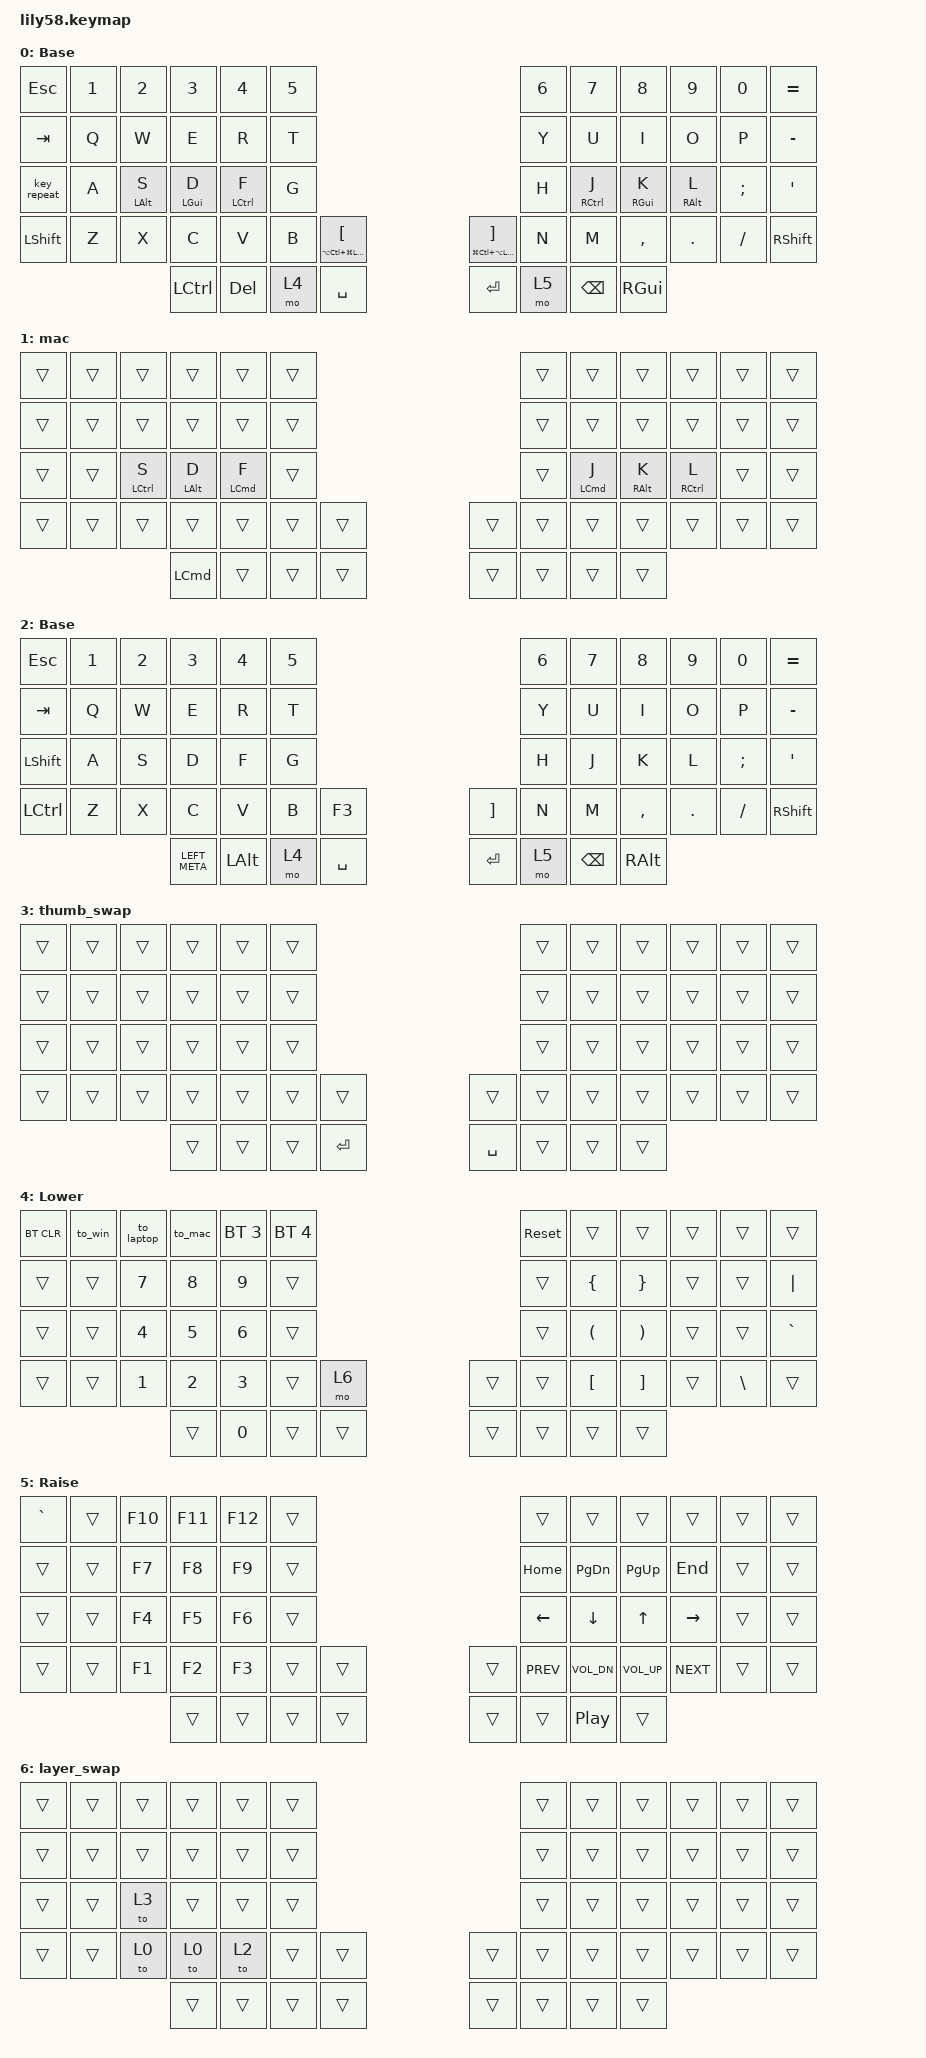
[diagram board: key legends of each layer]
/*
 * Copyright (c) 2020 The ZMK Contributors
 *
 * SPDX-License-Identifier: MIT
 */

#include <behaviors.dtsi>
#include <dt-bindings/zmk/bt.h>
#include <dt-bindings/zmk/keys.h>

/ {
    behaviors {
        hml: hml {
            compatible = "zmk,behavior-hold-tap";
            label = "HML";
            bindings = <&kp>, <&kp>;

            #binding-cells = <2>;
            flavor = "balanced";
            tapping-term-ms = <280>;
            hold-trigger-key-positions = <6 7 8 9 10 11 18 19 20 21 22 23 30 31 32 33 34 35 43 44 45 46 47 48 49 54 55 56 57 50 51 52 53>;
            hold-trigger-on-release;
            quick-tap-ms = <175>;
            require-prior-idle-ms = <150>;
        };

        hmr: hmr {
            compatible = "zmk,behavior-hold-tap";
            label = "HMR";
            bindings = <&kp>, <&kp>;

            #binding-cells = <2>;
            flavor = "balanced";
            tapping-term-ms = <280>;
            hold-trigger-on-release;
            quick-tap-ms = <175>;
            require-prior-idle-ms = <150>;
            hold-trigger-key-positions = <50 51 52 53 54 55 56 57 0 1 2 3 4 5 12 13 14 15 16 17 24 25 26 27 28 29 36 37 38 39 40 41 42>;
        };
    };

    macros {
        to_mac: switch_to_mac {
            compatible = "zmk,behavior-macro";
            #binding-cells = <0>;
            bindings = <&bt BT_SEL 2 &to 1>;
            label = "SWITCH_TO_MAC";
        };

        to_win: switch_to_windows {
            compatible = "zmk,behavior-macro";
            #binding-cells = <0>;
            bindings = <&bt BT_SEL 0 &to 0>;
            label = "SWITCH_TO_WINDOWS";
        };

        to_laptop: to_laptop {
            compatible = "zmk,behavior-macro";
            #binding-cells = <0>;
            bindings = <&bt BT_SEL 1 &to 0>;
            label = "TO_LAPTOP";
        };

        hyper: hyper {
            compatible = "zmk,behavior-macro";
            #binding-cells = <0>;
            bindings = <&kp LA(LC(LG(LEFT_SHIFT)))>;
            label = "HYPER";
        };
    };

    keymap {
        compatible = "zmk,keymap";

        windows {
            display-name = "Base";
            bindings = <
&kp ESCAPE   &kp N1  &kp N2       &kp N3            &kp N4        &kp N5                                                                                &kp N6  &kp N7        &kp N8       &kp N9       &kp N0         &kp EQUAL
&kp TAB      &kp Q   &kp W        &kp E             &kp R         &kp T                                                                                 &kp Y   &kp U         &kp I        &kp O        &kp P          &kp MINUS
&key_repeat  &kp A   &hml LALT S  &hml LGUI D       &hml LCTRL F  &kp G                                                                                 &kp H   &hmr RCTRL J  &hmr RGUI K  &hmr RALT L  &kp SEMICOLON  &kp SINGLE_QUOTE
&kp LSHIFT   &kp Z   &kp X        &kp C             &kp V         &kp B   &hml LA(LC(LG(LEFT_SHIFT))) LEFT_BRACKET    &hmr LG(LC(LA(LEFT_SHIFT))) RBKT  &kp N   &kp M         &kp COMMA    &kp DOT      &kp FSLH       &kp RSHIFT
                                  &kp LEFT_CONTROL  &kp DELETE    &mo 4   &kp SPACE                                   &kp RET                           &mo 5   &kp BSPC      &kp RGUI
            >;
        };

        mac {
            bindings = <
&trans  &trans  &trans               &trans            &trans               &trans                    &trans  &trans               &trans            &trans                &trans  &trans
&trans  &trans  &trans               &trans            &trans               &trans                    &trans  &trans               &trans            &trans                &trans  &trans
&trans  &trans  &hml LEFT_CONTROL S  &hml LEFT_ALT D   &hml LEFT_COMMAND F  &trans                    &trans  &hmr LEFT_COMMAND J  &hmr RIGHT_ALT K  &hmr RIGHT_CONTROL L  &trans  &trans
&trans  &trans  &trans               &trans            &trans               &trans  &trans    &trans  &trans  &trans               &trans            &trans                &trans  &trans
                                     &kp LEFT_COMMAND  &trans               &trans  &trans    &trans  &trans  &trans               &trans
            >;
        };

        Gaming {
            display-name = "Base";
            bindings = <
&kp ESCAPE      &kp N1  &kp N2  &kp N3         &kp N4        &kp N5                         &kp N6  &kp N7    &kp N8     &kp N9   &kp N0    &kp EQUAL
&kp TAB         &kp Q   &kp W   &kp E          &kp R         &kp T                          &kp Y   &kp U     &kp I      &kp O    &kp P     &kp MINUS
&kp LEFT_SHIFT  &kp A   &kp S   &kp D          &kp F         &kp G                          &kp H   &kp J     &kp K      &kp L    &kp SEMI  &kp SQT
&kp LCTRL       &kp Z   &kp X   &kp C          &kp V         &kp B   &kp F3       &kp RBKT  &kp N   &kp M     &kp COMMA  &kp DOT  &kp FSLH  &kp RSHFT
                                &kp LEFT_META  &kp LEFT_ALT  &mo 4   &kp SPACE    &kp RET   &mo 5   &kp BSPC  &kp RALT
            >;
        };

        thumb_swap {
            bindings = <
&trans  &trans  &trans  &trans  &trans  &trans                          &trans  &trans  &trans  &trans  &trans  &trans
&trans  &trans  &trans  &trans  &trans  &trans                          &trans  &trans  &trans  &trans  &trans  &trans
&trans  &trans  &trans  &trans  &trans  &trans                          &trans  &trans  &trans  &trans  &trans  &trans
&trans  &trans  &trans  &trans  &trans  &trans  &trans       &trans     &trans  &trans  &trans  &trans  &trans  &trans
                        &trans  &trans  &trans  &kp ENTER    &kp SPACE  &trans  &trans  &trans
            >;
        };

        lower_layer {
            // ------------------------------------------------------------------------------------------------------------
            // | BTCLR | BT1 | BT2 |  BT3 |  BT4 |  BT5 |                   |      |       |       |      |       |       |
            // |  F1   |  F2 |  F3 |  F4  |  F5  |  F6  |                   |  F7  |  F8   |  F9   |  F10 |  F11  |  F12  |
            // |   `   |  !  |  @  |  #   |  $   |  %   |                   |  ^   |  &    |  *    |  (   |   )   |   ~   |
            // |       |     |     |      |      |      |        |  |       |      |  _    |  +    |  {   |   }   |  "|"  |
            //                     |      |      |      |        |  |       |      |       |       |

            display-name = "Lower";
            bindings = <
&bt BT_CLR  &to_win  &to_laptop  &to_mac  &bt BT_SEL 3  &bt BT_SEL 4                    &sys_reset  &trans                &trans                 &trans  &trans         &trans
&trans      &trans   &kp N7      &kp N8   &kp N9        &trans                          &trans      &kp LEFT_BRACE        &kp RIGHT_BRACE        &trans  &trans         &kp PIPE
&trans      &trans   &kp N4      &kp N5   &kp N6        &trans                          &trans      &kp LEFT_PARENTHESIS  &kp RIGHT_PARENTHESIS  &trans  &trans         &kp GRAVE
&trans      &trans   &kp N1      &kp N2   &kp N3        &trans        &mo 6     &trans  &trans      &kp LEFT_BRACKET      &kp RIGHT_BRACKET      &trans  &kp BACKSLASH  &trans
                                 &trans   &kp N0        &trans        &trans    &trans  &trans      &trans                &trans
            >;
        };

        raise_layer {
            // ------------------------------------------------------------------------------------------------------------
            // |       |     |     |      |      |      |                   |      |       |       |      |       |       |
            // |   `   |  1  |  2  |  3   |  4   |  5   |                   |  6   |   7   |   8   |  9   |   0   |       |
            // |   F1  |  F2 |  F3 |  F4  |  F5  |  F6  |                   |      |   <-  |   v   |  ^   |  ->   |       |
            // |   F7  |  F8 |  F9 |  F10 |  F11 |  F12 |        |  |       |  +   |   -   |   =   |  [   |   ]   |   \   |
            //                     |      |      |      |        |  |       |      |       |       |

            display-name = "Raise";
            bindings = <
&kp GRAVE  &trans  &kp F10  &kp F11  &kp F12  &trans                    &trans      &trans        &trans        &trans      &trans  &trans
&trans     &trans  &kp F7   &kp F8   &kp F9   &trans                    &kp HOME    &kp PG_DN     &kp PG_UP     &kp END     &trans  &trans
&trans     &trans  &kp F4   &kp F5   &kp F6   &trans                    &kp LEFT    &kp DOWN      &kp UP        &kp RIGHT   &trans  &trans
&trans     &trans  &kp F1   &kp F2   &kp F3   &trans  &trans    &trans  &kp C_PREV  &kp C_VOL_DN  &kp C_VOL_UP  &kp C_NEXT  &trans  &trans
                            &trans   &trans   &trans  &trans    &trans  &trans      &kp C_PP      &trans
            >;
        };

        layer_swap {
            bindings = <
&trans  &trans  &trans  &trans  &trans  &trans                    &trans  &trans  &trans  &trans  &trans  &trans
&trans  &trans  &trans  &trans  &trans  &trans                    &trans  &trans  &trans  &trans  &trans  &trans
&trans  &trans  &to 3   &trans  &trans  &trans                    &trans  &trans  &trans  &trans  &trans  &trans
&trans  &trans  &to 0   &to 0   &to 2   &trans  &trans    &trans  &trans  &trans  &trans  &trans  &trans  &trans
                        &trans  &trans  &trans  &trans    &trans  &trans  &trans  &trans
            >;
        };
    };
};
